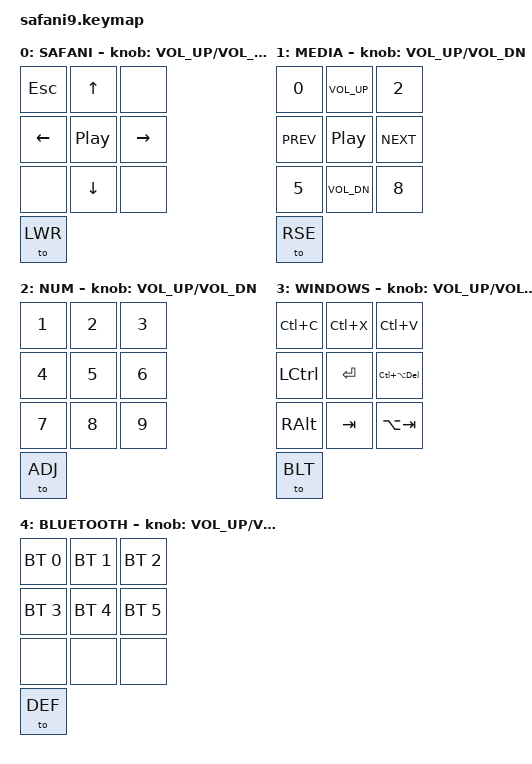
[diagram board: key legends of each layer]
#include <behaviors.dtsi>
#include <dt-bindings/zmk/keys.h>
#include <dt-bindings/zmk/bt.h>

/* Definisi nomor layer */
#define DEF 0
#define LWR 1
#define RSE 2
#define ADJ 3
#define BLT 4

/ {
    keymap {
        compatible = "zmk,keymap";

        /* ================= LAYER 0 (SAFANI) ================= */
        default_layer {
            display-name = "SAFANI";

            bindings = <
                &kp ESC              &kp UP_ARROW       &none
                &kp LEFT_ARROW       &kp C_PLAY_PAUSE   &kp RIGHT_ARROW
                &none                &kp DOWN_ARROW     &none
                &to LWR     /* Tekan encoder -> pindah ke Layer 1 */
            >;

            sensor-bindings = <
                &inc_dec_kp C_VOL_UP C_VOL_DN
            >;
        };

        /* ================= LAYER 1 (LOWER) ================= */
        lower_layer {
            display-name = "MEDIA";

            bindings = <
                &kp N0           &kp C_VOL_UP      &kp N2
                &kp C_PREV      &kp C_PLAY_PAUSE  &kp C_NEXT
                &kp N5           &kp C_VOL_DN      &kp N8
                &to RSE     /* Tekan encoder -> pindah ke Layer 2 */
            >;

            sensor-bindings = <
                &inc_dec_kp C_VOL_UP C_VOL_DN
            >;
        };

        /* ================= LAYER 2 (RAISE) ================= */
        raise_layer {
            display-name = "NUM";

            bindings = <
                &kp N1    &kp N2      &kp N3
                &kp N4    &kp N5      &kp N6
                &kp N7    &kp N8      &kp N9
                &to ADJ     /* Tekan encoder -> pindah ke Layer 3 */
            >;

            sensor-bindings = <
                &inc_dec_kp C_VOL_UP C_VOL_DN
            >;
        };

        /* ================= LAYER 3 (ADJUST) ================= */
        adjust_layer {
            display-name = "WINDOWS";

            bindings = <
                &kp LC(C)       &kp LC(X)       &kp LC(V)
                &kp LCTRL       &kp RET       &kp LC(LA(DEL))
                &kp RALT       &kp TAB       &kp LA(TAB)
                &to BLT     /* Tekan encoder -> pindah ke Layer 4 */
            >;

            sensor-bindings = <
                &inc_dec_kp C_VOL_UP C_VOL_DN
            >;
        };

        /* ================= LAYER 4 (BLUETOOTH) ================= */
        bluetooth_layer {
            display-name = "BLUETOOTH";

            bindings = <
                &bt BT_SEL 0       &bt BT_SEL 1       &bt BT_SEL 2
                &bt BT_SEL 3       &bt BT_SEL 4       &bt BT_SEL 5
                &none       &none       &none
                &to DEF     /* Tekan encoder -> kembali ke Layer 0 (SAFANI) */
            >;

            sensor-bindings = <
                &inc_dec_kp C_VOL_UP C_VOL_DN
            >;
        };
    };
};
